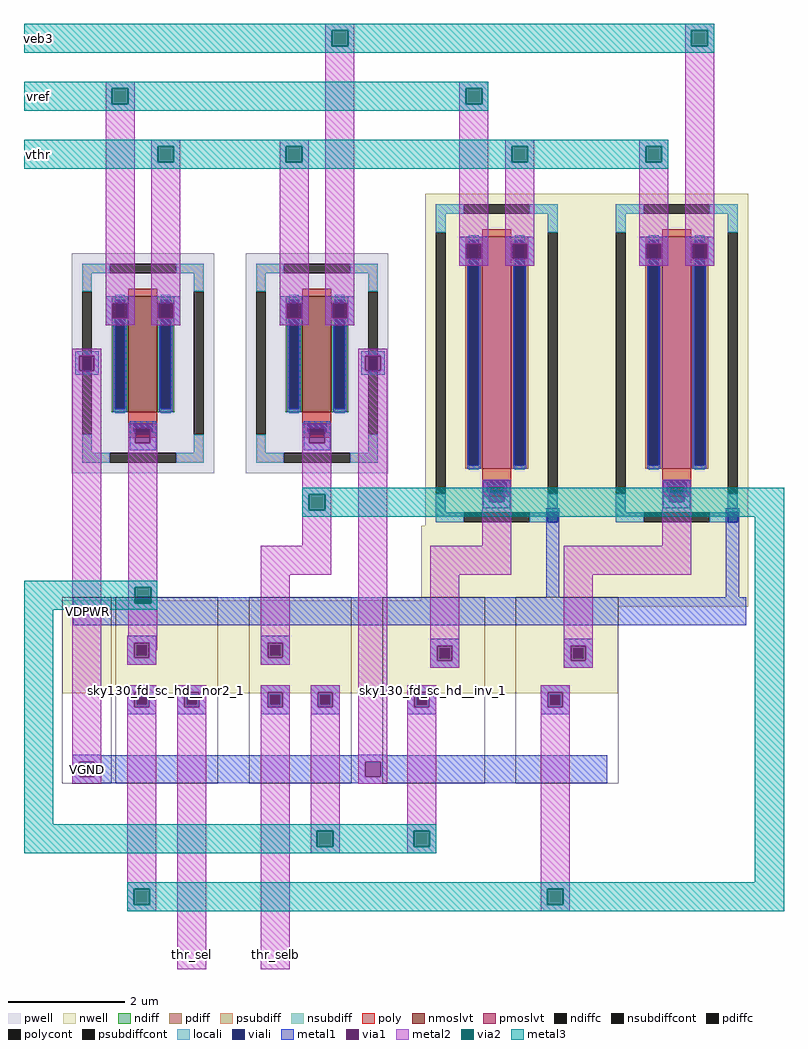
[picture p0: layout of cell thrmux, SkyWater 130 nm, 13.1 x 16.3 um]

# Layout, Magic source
magic
tech sky130A
magscale 1 2
<< nwell >>
rect 1680 840 1860 1984
rect 1200 582 2326 840
rect -38 560 2326 582
rect -38 261 1878 560
<< viali >>
rect 30 1383 64 1417
rect 1016 1383 1050 1417
rect 1636 852 1670 886
rect 2256 852 2290 886
rect 219 393 253 427
rect 679 393 713 427
rect 1264 383 1298 417
rect 1724 383 1758 417
rect 219 223 253 257
rect 391 223 425 257
rect 679 223 713 257
rect 851 223 885 257
rect 1184 222 1218 256
rect 1644 222 1678 256
<< metal1 >>
rect 1331 1812 1431 1836
rect 1331 1760 1355 1812
rect 1407 1760 1431 1812
rect 1331 1736 1431 1760
rect 1489 1812 1589 1836
rect 1489 1760 1513 1812
rect 1565 1760 1589 1812
rect 1489 1736 1589 1760
rect 1951 1812 2051 1836
rect 1951 1760 1975 1812
rect 2027 1760 2051 1812
rect 1951 1736 2051 1760
rect 2109 1812 2209 1836
rect 2109 1760 2133 1812
rect 2185 1760 2209 1812
rect 2109 1736 2209 1760
rect 111 1607 211 1631
rect 111 1555 135 1607
rect 187 1555 211 1607
rect 111 1531 211 1555
rect 269 1607 369 1631
rect 269 1555 293 1607
rect 345 1555 369 1607
rect 269 1531 369 1555
rect 711 1607 811 1631
rect 711 1555 735 1607
rect 787 1555 811 1607
rect 711 1531 811 1555
rect 869 1607 969 1631
rect 869 1555 893 1607
rect 945 1555 969 1607
rect 869 1531 969 1555
rect 7 1426 87 1440
rect 7 1374 21 1426
rect 73 1374 87 1426
rect 7 1360 87 1374
rect 993 1426 1073 1440
rect 993 1374 1007 1426
rect 1059 1374 1073 1426
rect 993 1360 1073 1374
rect 194 1176 286 1199
rect 194 1124 214 1176
rect 266 1124 286 1176
rect 194 1100 286 1124
rect 794 1176 886 1199
rect 794 1124 814 1176
rect 866 1124 886 1176
rect 794 1100 886 1124
rect 1414 974 1506 995
rect 1414 922 1434 974
rect 1486 922 1506 974
rect 1414 900 1506 922
rect 2034 974 2126 995
rect 2034 922 2054 974
rect 2106 922 2126 974
rect 2034 900 2126 922
rect 1630 886 1676 900
rect 1630 852 1636 886
rect 1670 852 1676 886
rect 1630 592 1676 852
rect 2250 886 2296 900
rect 2250 852 2256 886
rect 2290 852 2296 886
rect 2250 592 2296 852
rect 0 496 2320 592
rect 186 436 286 460
rect 186 384 210 436
rect 262 384 286 436
rect 186 360 286 384
rect 646 436 746 460
rect 646 384 670 436
rect 722 384 746 436
rect 646 360 746 384
rect 1231 426 1331 450
rect 1231 374 1255 426
rect 1307 374 1331 426
rect 1231 350 1331 374
rect 1691 426 1791 450
rect 1691 374 1715 426
rect 1767 374 1791 426
rect 1691 350 1791 374
rect 186 266 286 290
rect 186 214 210 266
rect 262 214 286 266
rect 186 190 286 214
rect 358 266 458 290
rect 358 214 382 266
rect 434 214 458 266
rect 358 190 458 214
rect 646 266 746 290
rect 646 214 670 266
rect 722 214 746 266
rect 646 190 746 214
rect 818 266 918 290
rect 818 214 842 266
rect 894 214 918 266
rect 818 190 918 214
rect 1151 265 1251 289
rect 1151 213 1175 265
rect 1227 213 1251 265
rect 1151 189 1251 213
rect 1611 265 1711 289
rect 1611 213 1635 265
rect 1687 213 1711 265
rect 1611 189 1711 213
rect -3 48 97 50
rect 983 48 1083 50
rect -3 26 1840 48
rect -3 -26 21 26
rect 73 -26 1007 26
rect 1059 -26 1840 26
rect -3 -48 1840 -26
rect -3 -50 97 -48
rect 983 -50 1083 -48
<< via1 >>
rect 1355 1760 1407 1812
rect 1513 1760 1565 1812
rect 1975 1760 2027 1812
rect 2133 1760 2185 1812
rect 135 1555 187 1607
rect 293 1555 345 1607
rect 735 1555 787 1607
rect 893 1555 945 1607
rect 21 1417 73 1426
rect 21 1383 30 1417
rect 30 1383 64 1417
rect 64 1383 73 1417
rect 21 1374 73 1383
rect 1007 1417 1059 1426
rect 1007 1383 1016 1417
rect 1016 1383 1050 1417
rect 1050 1383 1059 1417
rect 1007 1374 1059 1383
rect 214 1124 266 1176
rect 814 1124 866 1176
rect 1434 922 1486 974
rect 2054 922 2106 974
rect 210 427 262 436
rect 210 393 219 427
rect 219 393 253 427
rect 253 393 262 427
rect 210 384 262 393
rect 670 427 722 436
rect 670 393 679 427
rect 679 393 713 427
rect 713 393 722 427
rect 670 384 722 393
rect 1255 417 1307 426
rect 1255 383 1264 417
rect 1264 383 1298 417
rect 1298 383 1307 417
rect 1255 374 1307 383
rect 1715 417 1767 426
rect 1715 383 1724 417
rect 1724 383 1758 417
rect 1758 383 1767 417
rect 1715 374 1767 383
rect 210 257 262 266
rect 210 223 219 257
rect 219 223 253 257
rect 253 223 262 257
rect 210 214 262 223
rect 382 257 434 266
rect 382 223 391 257
rect 391 223 425 257
rect 425 223 434 257
rect 382 214 434 223
rect 670 257 722 266
rect 670 223 679 257
rect 679 223 713 257
rect 713 223 722 257
rect 670 214 722 223
rect 842 257 894 266
rect 842 223 851 257
rect 851 223 885 257
rect 885 223 894 257
rect 842 214 894 223
rect 1175 256 1227 265
rect 1175 222 1184 256
rect 1184 222 1218 256
rect 1218 222 1227 256
rect 1175 213 1227 222
rect 1635 256 1687 265
rect 1635 222 1644 256
rect 1644 222 1678 256
rect 1678 222 1687 256
rect 1635 213 1687 222
rect 21 -26 73 26
rect 1007 -26 1059 26
<< metal2 >>
rect 869 2548 969 2570
rect 869 2492 891 2548
rect 947 2492 969 2548
rect 111 2348 211 2370
rect 111 2292 133 2348
rect 189 2292 211 2348
rect 111 1607 211 2292
rect 111 1555 135 1607
rect 187 1555 211 1607
rect 111 1531 211 1555
rect 269 2148 369 2170
rect 269 2092 291 2148
rect 347 2092 369 2148
rect 269 1607 369 2092
rect 269 1555 293 1607
rect 345 1555 369 1607
rect 269 1531 369 1555
rect 711 2148 811 2170
rect 711 2092 733 2148
rect 789 2092 811 2148
rect 711 1607 811 2092
rect 711 1555 735 1607
rect 787 1555 811 1607
rect 711 1531 811 1555
rect 869 1607 969 2492
rect 2109 2548 2209 2570
rect 2109 2492 2131 2548
rect 2187 2492 2209 2548
rect 1331 2348 1431 2370
rect 1331 2292 1353 2348
rect 1409 2292 1431 2348
rect 1331 1812 1431 2292
rect 1331 1760 1355 1812
rect 1407 1760 1431 1812
rect 1331 1736 1431 1760
rect 1489 2148 1589 2170
rect 1489 2092 1511 2148
rect 1567 2092 1589 2148
rect 1489 1812 1589 2092
rect 1489 1760 1513 1812
rect 1565 1760 1589 1812
rect 1489 1736 1589 1760
rect 1951 2148 2051 2170
rect 1951 2092 1973 2148
rect 2029 2092 2051 2148
rect 1951 1812 2051 2092
rect 1951 1760 1975 1812
rect 2027 1760 2051 1812
rect 1951 1736 2051 1760
rect 2109 1812 2209 2492
rect 2109 1760 2133 1812
rect 2185 1760 2209 1812
rect 2109 1736 2209 1760
rect 869 1555 893 1607
rect 945 1555 969 1607
rect 869 1531 969 1555
rect -3 1426 97 1450
rect -3 1374 21 1426
rect 73 1374 97 1426
rect -3 26 97 1374
rect 983 1426 1083 1450
rect 983 1374 1007 1426
rect 1059 1374 1083 1426
rect 190 1176 290 1190
rect 190 1124 214 1176
rect 266 1124 290 1176
rect 190 628 290 1124
rect 790 1176 890 1190
rect 790 1124 814 1176
rect 866 1124 890 1176
rect 790 948 890 1124
rect 790 892 812 948
rect 868 892 890 948
rect 790 770 890 892
rect 190 572 212 628
rect 268 572 290 628
rect 190 460 290 572
rect 186 436 290 460
rect 186 384 210 436
rect 262 410 290 436
rect 646 670 890 770
rect 646 436 746 670
rect 262 384 286 410
rect 186 360 286 384
rect 646 384 670 436
rect 722 384 746 436
rect 646 360 746 384
rect -3 -26 21 26
rect 73 -26 97 26
rect -3 -50 97 -26
rect 186 266 286 290
rect 186 214 210 266
rect 262 214 286 266
rect 186 -412 286 214
rect 186 -468 208 -412
rect 264 -468 286 -412
rect 186 -490 286 -468
rect 358 266 458 290
rect 358 214 382 266
rect 434 214 458 266
rect 358 -690 458 214
rect 646 266 746 290
rect 646 214 670 266
rect 722 214 746 266
rect 646 -690 746 214
rect 818 266 918 290
rect 818 214 842 266
rect 894 214 918 266
rect 818 -212 918 214
rect 983 26 1083 1374
rect 1410 974 1510 998
rect 1410 922 1434 974
rect 1486 922 1510 974
rect 1410 770 1510 922
rect 2030 974 2130 998
rect 2030 922 2054 974
rect 2106 922 2130 974
rect 2030 770 2130 922
rect 1231 670 1510 770
rect 1691 670 2130 770
rect 1231 426 1331 670
rect 1231 374 1255 426
rect 1307 374 1331 426
rect 1231 350 1331 374
rect 1691 426 1791 670
rect 1691 374 1715 426
rect 1767 374 1791 426
rect 1691 350 1791 374
rect 983 -26 1007 26
rect 1059 -26 1083 26
rect 983 -50 1083 -26
rect 1151 265 1251 289
rect 1151 213 1175 265
rect 1227 213 1251 265
rect 818 -268 840 -212
rect 896 -268 918 -212
rect 818 -290 918 -268
rect 1151 -212 1251 213
rect 1151 -268 1173 -212
rect 1229 -268 1251 -212
rect 1151 -290 1251 -268
rect 1611 265 1711 289
rect 1611 213 1635 265
rect 1687 213 1711 265
rect 1611 -412 1711 213
rect 1611 -468 1633 -412
rect 1689 -468 1711 -412
rect 1611 -490 1711 -468
<< via2 >>
rect 891 2492 947 2548
rect 133 2292 189 2348
rect 291 2092 347 2148
rect 733 2092 789 2148
rect 2131 2492 2187 2548
rect 1353 2292 1409 2348
rect 1511 2092 1567 2148
rect 1973 2092 2029 2148
rect 812 892 868 948
rect 212 572 268 628
rect 208 -468 264 -412
rect 840 -268 896 -212
rect 1173 -268 1229 -212
rect 1633 -468 1689 -412
<< metal3 >>
rect -170 2548 2209 2570
rect -170 2492 891 2548
rect 947 2492 2131 2548
rect 2187 2492 2209 2548
rect -170 2470 2209 2492
rect -170 2348 1431 2370
rect -170 2292 133 2348
rect 189 2292 1353 2348
rect 1409 2292 1431 2348
rect -170 2270 1431 2292
rect -170 2148 2051 2170
rect -170 2092 291 2148
rect 347 2092 733 2148
rect 789 2092 1511 2148
rect 1567 2092 1973 2148
rect 2029 2092 2051 2148
rect -170 2070 2051 2092
rect 790 948 2450 970
rect 790 892 812 948
rect 868 892 2450 948
rect 790 870 2450 892
rect -170 628 290 650
rect -170 572 212 628
rect 268 572 290 628
rect -170 550 290 572
rect -170 -190 -70 550
rect -170 -212 1251 -190
rect -170 -268 840 -212
rect 896 -268 1173 -212
rect 1229 -268 1251 -212
rect -170 -290 1251 -268
rect 2350 -390 2450 870
rect 186 -412 2450 -390
rect 186 -468 208 -412
rect 264 -468 1633 -412
rect 1689 -468 2450 -412
rect 186 -490 2450 -468
use sky130_fd_sc_hd__inv_1  xi1 $PDKPATH/libs.ref/sky130_fd_sc_hd/mag
transform 1 0 1104 0 1 0
box -38 -48 314 592
use sky130_fd_sc_hd__inv_1  xi2
transform 1 0 1564 0 1 0
box -38 -48 314 592
use sky130_fd_pr__nfet_01v8_lvt_Q7Y8Y5  XMTN1
transform 1 0 240 0 1 1400
box -246 -379 246 379
use sky130_fd_pr__nfet_01v8_lvt_Q7Y8Y5  XMTN2
transform 1 0 840 0 1 1400
box -246 -379 246 379
use sky130_fd_pr__pfet_01v8_lvt_Q2BRHB  XMTP1
transform 1 0 1460 0 1 1400
box -246 -584 246 584
use sky130_fd_pr__pfet_01v8_lvt_Q2BRHB  XMTP2
transform 1 0 2080 0 1 1400
box -246 -584 246 584
use sky130_fd_sc_hd__nor2_1  xn1 $PDKPATH/libs.ref/sky130_fd_sc_hd/mag
transform 1 0 184 0 1 0
box -38 -48 314 592
use sky130_fd_sc_hd__nor2_1  xn2
transform 1 0 644 0 1 0
box -38 -48 314 592
use sky130_fd_sc_hd__tapvpwrvgnd_1  XTAP $PDKPATH/libs.ref/sky130_fd_sc_hd/mag
transform 1 0 0 0 1 0
box -38 -48 130 592
<< labels >>
rlabel metal3 -170 2270 -70 2370 0 vref
port 1 nsew
rlabel metal3 -170 2470 -70 2570 0 veb3
port 2 nsew
rlabel metal2 358 -690 458 -590 0 thr_sel
port 3 nsew
rlabel metal2 646 -690 746 -590 0 thr_selb
port 4 nsew
rlabel metal3 -170 2070 -70 2170 0 vthr
port 5 nsew
rlabel metal1 0 496 100 592 0 VDPWR
port 6 nsew
rlabel metal1 0 -48 100 48 0 VGND
port 7 nsew
<< end >>

# cell sky130_fd_pr__nfet_01v8_lvt_Q7Y8Y5: kit device sky130_fd_pr__nfet_01v8_lvt, w 2 l 0.5 m 1 nf 1 diffcov 100 polycov 100 guard 1 glc 1 grc 1 gtc 1 gbc 1 tbcov 100 rlcov 100 topc 0 botc 1 poverlap 0 doverlap 1 lmin 0.15 wmin 0.42 class mosfet compatible {sky130_fd_pr__nfet_01v8 sky130_fd_pr__nfet_01v8_lvt sky130_fd_bs_flash__special_sonosfet_star sky130_fd_pr__nfet_g5v0d10v5 sky130_fd_pr__nfet_05v0_nvt sky130_fd_pr__nfet_03v3_nvt} full_metal 1 conn_gates 0 viasrc 100 viadrn 100 viagate 100 viagb 0 viagr 0 viagl 0 viagt 0 doports 1

# cell sky130_fd_pr__pfet_01v8_lvt_Q2BRHB: kit device sky130_fd_pr__pfet_01v8_lvt, w 4 l 0.5 m 1 nf 1 diffcov 100 polycov 100 guard 1 glc 1 grc 1 gtc 1 gbc 1 tbcov 100 rlcov 100 topc 0 botc 1 poverlap 0 doverlap 1 lmin 0.35 wmin 0.42 class mosfet compatible {sky130_fd_pr__pfet_01v8 sky130_fd_pr__pfet_01v8_lvt sky130_fd_pr__pfet_01v8_hvt sky130_fd_pr__pfet_g5v0d10v5} full_metal 1 conn_gates 0 viasrc 100 viadrn 100 viagate 100 viagb 0 viagr 0 viagl 0 viagt 0 doports 1
